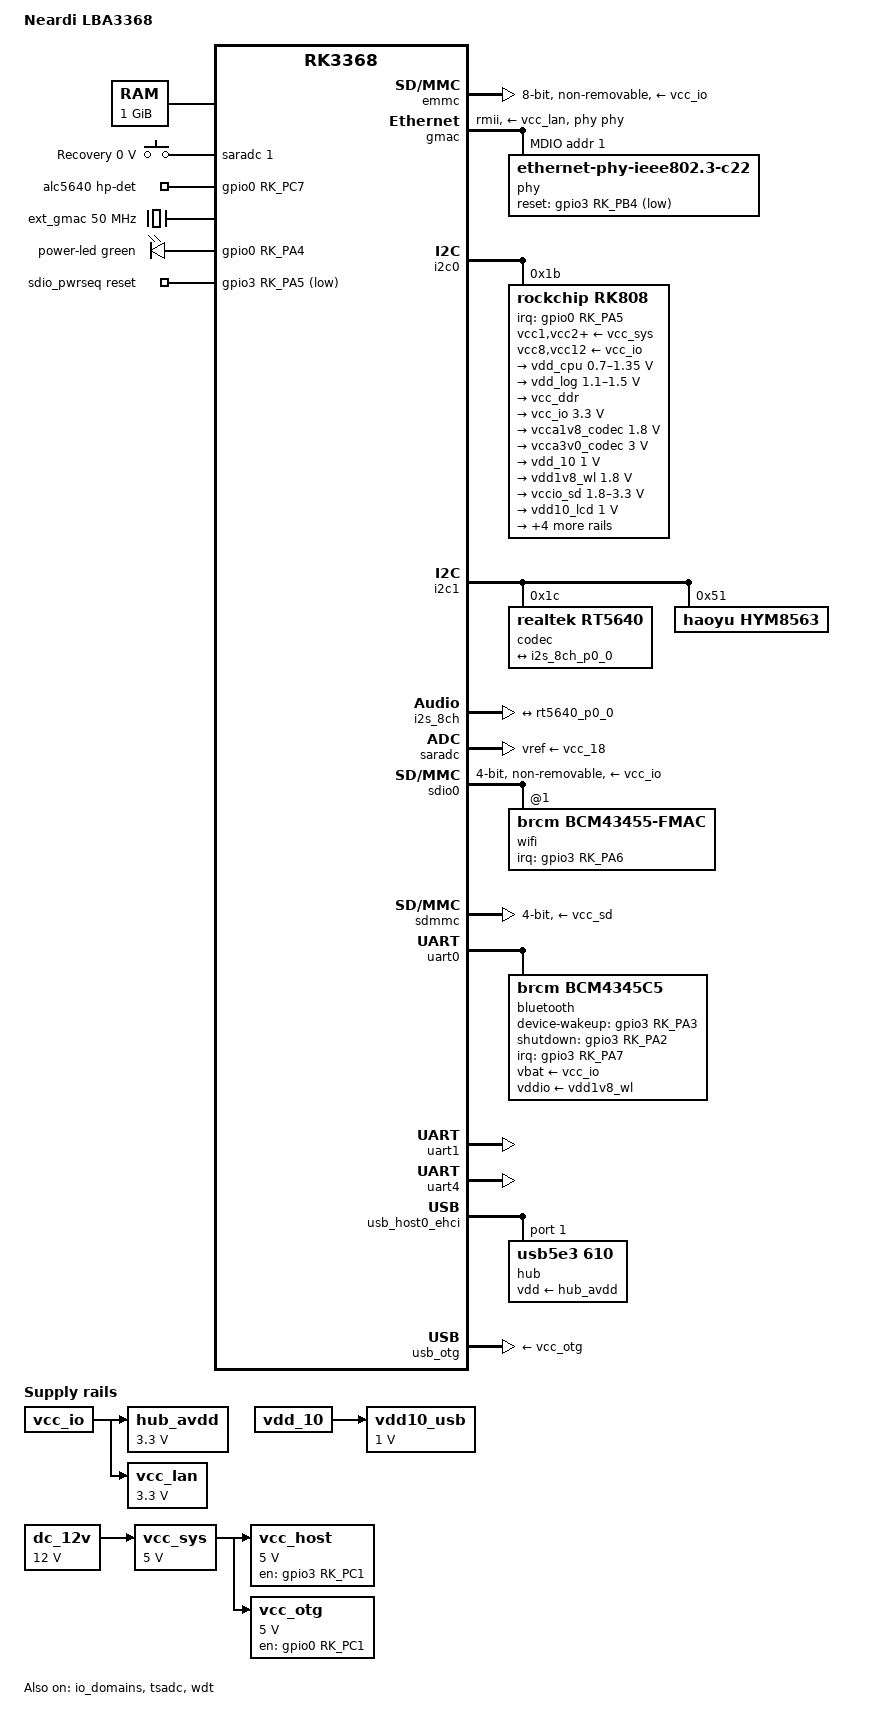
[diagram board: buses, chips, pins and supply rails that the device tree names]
// SPDX-License-Identifier: (GPL-2.0+ OR MIT)

/dts-v1/;

#include <dt-bindings/clock/rockchip,rk808.h>
#include <dt-bindings/input/input.h>
#include <dt-bindings/leds/common.h>
#include <dt-bindings/sound/rt5640.h>
#include "rk3368.dtsi"

/ {
	model = "Neardi LBA3368";
	compatible = "neardi,lba3368", "rockchip,rk3368";

	aliases {
		ethernet0 = &gmac;
		mmc0 = &emmc;
		mmc1 = &sdmmc;
		mmc2 = &sdio0;
		rtc0 = &hym8563;
		rtc1 = &rk808;
	};

	chosen {
		stdout-path = "serial1:115200n8";
	};

	memory@0 {
		device_type = "memory";
		reg = <0x0 0x0 0x0 0x40000000>;
	};

	adc-key {
		compatible = "adc-keys";
		io-channels = <&saradc 1>;
		io-channel-names = "buttons";
		poll-interval = <100>;
		keyup-threshold-microvolt = <1800000>;

		button-recovery {
			label = "Recovery";
			linux,code = <KEY_VENDOR>;
			press-threshold-microvolt = <0>;
		};
	};

	analog-sound {
		compatible = "audio-graph-card";
		dais = <&i2s_8ch_p0>;
		hp-det-gpios = <&gpio0 RK_PC7 GPIO_ACTIVE_HIGH>;
		label = "alc5640";
		routing = "Mic Jack", "MICBIAS1",
			  "IN1P", "Mic Jack",
			  "Headphone Jack", "HPOL",
			  "Headphone Jack", "HPOR",
			  "Speakers", "SPORP",
			  "Speakers", "SPORN",
			  "Speakers", "SPOLP",
			  "Speakers", "SPOLN";
		widgets = "Microphone", "Mic Jack",
			  "Headphone", "Headphone Jack",
			  "Speaker", "Speakers";
		pinctrl-names = "default";
		pinctrl-0 = <&hp_det>;
	};

	dc_12v: regulator-dc-12v {
		compatible = "regulator-fixed";
		regulator-name = "dc_12v";
		regulator-min-microvolt = <12000000>;
		regulator-max-microvolt = <12000000>;
		regulator-always-on;
		regulator-boot-on;
	};

	ext_gmac: gmac-clk {
		compatible = "fixed-clock";
		clock-frequency = <50000000>;
		clock-output-names = "ext_gmac";
		#clock-cells = <0>;
	};

	hub_avdd: regulator-hub-avdd {
		compatible = "regulator-fixed";
		regulator-name = "hub_avdd";
		regulator-min-microvolt = <3300000>;
		regulator-max-microvolt = <3300000>;
		vin-supply = <&vcc_io>;
		regulator-always-on;
	};

	leds {
		compatible = "gpio-leds";

		power-led {
			gpios = <&gpio0 RK_PA4 GPIO_ACTIVE_HIGH>;
			function = LED_FUNCTION_POWER;
			color = <LED_COLOR_ID_GREEN>;
			default-state = "on";
			pinctrl-names = "default";
			pinctrl-0 = <&power_led>;
		};
	};

	sdio_pwrseq: sdio-pwrseq {
		compatible = "mmc-pwrseq-simple";
		clocks = <&rk808 RK808_CLKOUT1>;
		clock-names = "ext_clock";
		reset-gpios = <&gpio3 RK_PA5 GPIO_ACTIVE_LOW>;
		pinctrl-names = "default";
		pinctrl-0 = <&wifi_reg_on>;
	};

	vcc_host: regulator-vcc-host {
		compatible = "regulator-fixed";
		gpio = <&gpio3 RK_PC1 GPIO_ACTIVE_HIGH>;
		regulator-name = "vcc_host";
		regulator-min-microvolt = <5000000>;
		regulator-max-microvolt = <5000000>;
		vin-supply = <&vcc_sys>;
		pinctrl-names = "default";
		pinctrl-0 = <&host_vbus_drv>;
		enable-active-high;
		regulator-always-on;
	};

	vcc_lan: regulator-vcc-lan {
		compatible = "regulator-fixed";
		regulator-name = "vcc_lan";
		regulator-min-microvolt = <3300000>;
		regulator-max-microvolt = <3300000>;
		vin-supply = <&vcc_io>;
		regulator-always-on;
	};

	vcc_otg: regulator-vcc-otg {
		compatible = "regulator-fixed";
		gpio = <&gpio0 RK_PC1 GPIO_ACTIVE_HIGH>;
		regulator-name = "vcc_otg";
		regulator-min-microvolt = <5000000>;
		regulator-max-microvolt = <5000000>;
		vin-supply = <&vcc_sys>;
		pinctrl-names = "default";
		pinctrl-0 = <&otg_vbus_drv>;
		enable-active-high;
		regulator-always-on;
	};

	vcc_sys: regulator-vcc-sys {
		compatible = "regulator-fixed";
		regulator-name = "vcc_sys";
		regulator-min-microvolt = <5000000>;
		regulator-max-microvolt = <5000000>;
		vin-supply = <&dc_12v>;
		regulator-always-on;
		regulator-boot-on;
	};

	vdd10_usb: regulator-vdd10-usb {
		compatible = "regulator-fixed";
		regulator-name = "vdd10_usb";
		regulator-min-microvolt = <1000000>;
		regulator-max-microvolt = <1000000>;
		vin-supply = <&vdd_10>;
		regulator-always-on;
	};
};

&cpu_l0 {
	cpu-supply = <&vdd_cpu>;
};

&cpu_l1 {
	cpu-supply = <&vdd_cpu>;
};

&cpu_l2 {
	cpu-supply = <&vdd_cpu>;
};

&cpu_l3 {
	cpu-supply = <&vdd_cpu>;
};

&cpu_b0 {
	cpu-supply = <&vdd_cpu>;
};

&cpu_b1 {
	cpu-supply = <&vdd_cpu>;
};

&cpu_b2 {
	cpu-supply = <&vdd_cpu>;
};

&cpu_b3 {
	cpu-supply = <&vdd_cpu>;
};

&emmc {
	bus-width = <8>;
	vmmc-supply = <&vcc_io>;
	vqmmc-supply = <&vcc_18>;
	pinctrl-names = "default";
	pinctrl-0 = <&emmc_clk &emmc_cmd &emmc_bus8>;
	cap-mmc-highspeed;
	non-removable;
	no-sd;
	no-sdio;
	mmc-hs200-1_8v;
	status = "okay";
};

&gmac {
	clock_in_out = "input";
	phy-handle = <&phy>;
	phy-mode = "rmii";
	phy-supply = <&vcc_lan>;
	assigned-clocks = <&cru SCLK_MAC>;
	assigned-clock-parents = <&ext_gmac>;
	pinctrl-names = "default";
	pinctrl-0 = <&rmii_pins>;
	status = "okay";

	mdio {
		compatible = "snps,dwmac-mdio";
		#address-cells = <1>;
		#size-cells = <0>;

		phy: ethernet-phy@1 {
			compatible = "ethernet-phy-ieee802.3-c22";
			reg = <1>;
			max-speed = <100>;
			reset-assert-us = <10000>;
			reset-deassert-us = <1000000>;
			reset-gpios = <&gpio3 RK_PB4 GPIO_ACTIVE_LOW>;
			pinctrl-names = "default";
			pinctrl-0 = <&phy_rst>;
		};
	};
};

&io_domains {
	audio-supply = <&vcca1v8_codec>;
	dvp-supply = <&vcc_18>;
	flash0-supply = <&vcc_18>;
	gpio1830-supply = <&vcc_io>;
	gpio30-supply = <&vcc_io>;
	sdcard-supply = <&vccio_sd>;
	wifi-supply = <&vdd1v8_wl>;
	status = "okay";
};

&i2c0 {
	status = "okay";

	rk808: pmic@1b {
		compatible = "rockchip,rk808";
		reg = <0x1b>;
		interrupts-extended = <&gpio0 RK_PA5 IRQ_TYPE_LEVEL_LOW>;
		clock-output-names = "rk808-clkout1", "xin32k_wifi_bt";
		vcc1-supply = <&vcc_sys>;
		vcc2-supply = <&vcc_sys>;
		vcc3-supply = <&vcc_sys>;
		vcc4-supply = <&vcc_sys>;
		vcc6-supply = <&vcc_sys>;
		vcc7-supply = <&vcc_sys>;
		vcc8-supply = <&vcc_io>;
		vcc9-supply = <&vcc_sys>;
		vcc10-supply = <&vcc_sys>;
		vcc11-supply = <&vcc_sys>;
		vcc12-supply = <&vcc_io>;
		pinctrl-names = "default";
		pinctrl-0 = <&pmic_int &pmic_sleep>;
		system-power-controller;
		wakeup-source;
		#clock-cells = <1>;

		regulators {
			vdd_cpu: DCDC_REG1 {
				regulator-name = "vdd_cpu";
				regulator-min-microvolt = <700000>;
				regulator-max-microvolt = <1350000>;
				regulator-always-on;
				regulator-boot-on;

				regulator-state-mem {
					regulator-off-in-suspend;
				};
			};

			vdd_log: DCDC_REG2 {
				regulator-name = "vdd_log";
				regulator-min-microvolt = <1100000>;
				regulator-max-microvolt = <1500000>;
				regulator-ramp-delay = <6001>;
				regulator-always-on;
				regulator-boot-on;

				regulator-state-mem {
					regulator-suspend-microvolt = <1000000>;
					regulator-on-in-suspend;
				};
			};

			vcc_ddr: DCDC_REG3 {
				regulator-name = "vcc_ddr";
				regulator-always-on;
				regulator-boot-on;

				regulator-state-mem {
					regulator-on-in-suspend;
				};
			};

			vcc_io: DCDC_REG4 {
				regulator-name = "vcc_io";
				regulator-min-microvolt = <3300000>;
				regulator-max-microvolt = <3300000>;
				regulator-always-on;
				regulator-boot-on;

				regulator-state-mem {
					regulator-suspend-microvolt = <3300000>;
					regulator-on-in-suspend;
				};
			};

			vcca1v8_codec: LDO_REG1 {
				regulator-name = "vcca1v8_codec";
				regulator-min-microvolt = <1800000>;
				regulator-max-microvolt = <1800000>;
				regulator-always-on;

				regulator-state-mem {
					regulator-off-in-suspend;
				};
			};

			vcca3v0_codec: LDO_REG2 {
				regulator-name = "vcca3v0_codec";
				regulator-min-microvolt = <3000000>;
				regulator-max-microvolt = <3000000>;
				regulator-always-on;

				regulator-state-mem {
					regulator-off-in-suspend;
				};
			};

			vdd_10: LDO_REG3 {
				regulator-name = "vdd_10";
				regulator-min-microvolt = <1000000>;
				regulator-max-microvolt = <1000000>;
				regulator-always-on;
				regulator-boot-on;

				regulator-state-mem {
					regulator-suspend-microvolt = <1000000>;
					regulator-on-in-suspend;
				};
			};

			vdd1v8_wl: LDO_REG4 {
				regulator-name = "vdd1v8_wl";
				regulator-min-microvolt = <1800000>;
				regulator-max-microvolt = <1800000>;

				regulator-state-mem {
					regulator-off-in-suspend;
				};
			};

			vccio_sd: LDO_REG5 {
				regulator-name = "vccio_sd";
				regulator-min-microvolt = <1800000>;
				regulator-max-microvolt = <3300000>;

				regulator-state-mem {
					regulator-off-in-suspend;
				};
			};

			vdd10_lcd: LDO_REG6 {
				regulator-name = "vdd10_lcd";
				regulator-min-microvolt = <1000000>;
				regulator-max-microvolt = <1000000>;

				regulator-state-mem {
					regulator-off-in-suspend;
				};
			};

			vcc_18: LDO_REG7 {
				regulator-name = "vcc_18";
				regulator-min-microvolt = <1800000>;
				regulator-max-microvolt = <1800000>;

				regulator-state-mem {
					regulator-suspend-microvolt = <1800000>;
					regulator-on-in-suspend;
				};
			};

			vcc18_lcd: LDO_REG8 {
				regulator-name = "vcc18_lcd";
				regulator-min-microvolt = <1800000>;
				regulator-max-microvolt = <1800000>;

				regulator-state-mem {
					regulator-off-in-suspend;
				};
			};

			vcc_tp: SWITCH_REG1 {
				regulator-name = "vcc_tp";

				regulator-state-mem {
					regulator-on-in-suspend;
				};
			};

			vcc_sd: SWITCH_REG2 {
				regulator-name = "vcc_sd";

				regulator-state-mem {
					regulator-off-in-suspend;
				};
			};
		};
	};
};

&i2c1 {
	status = "okay";

	codec@1c {
		compatible = "realtek,rt5640";
		reg = <0x1c>;
		clocks = <&cru SCLK_I2S_8CH_OUT>;
		clock-names = "mclk";
		realtek,dmic1-data-pin = <RT5640_DMIC1_DATA_PIN_IN1P>;
		realtek,dmic2-data-pin = <RT5640_DMIC2_DATA_PIN_IN1N>;
		realtek,in1-differential;
		#sound-dai-cells = <0>;

		port {
			rt5640_p0_0: endpoint {
				remote-endpoint = <&i2s_8ch_p0_0>;
			};
		};
	};

	hym8563: rtc@51 {
		compatible = "haoyu,hym8563";
		reg = <0x51>;
		clock-output-names = "xin32k";
		#clock-cells = <0>;
	};
};

&i2s_8ch {
	status = "okay";

	i2s_8ch_p0: port {
		i2s_8ch_p0_0: endpoint {
			dai-format = "i2s";
			mclk-fs = <256>;
			remote-endpoint = <&rt5640_p0_0>;
		};
	};
};

&pinctrl {
	bluetooth {
		bt_host_wake: bt-host-wake {
			rockchip,pins = <3 RK_PA7 RK_FUNC_GPIO &pcfg_pull_none>;
		};

		bt_reg_on: bt-reg-on {
			rockchip,pins = <3 RK_PA2 RK_FUNC_GPIO &pcfg_pull_up>;
		};

		bt_wake: bt-wake {
			rockchip,pins = <3 RK_PA3 RK_FUNC_GPIO &pcfg_pull_none>;
		};
	};

	leds {
		power_led: power-led {
			rockchip,pins = <0 RK_PA4 RK_FUNC_GPIO &pcfg_pull_none>;
		};
	};

	phy {
		phy_rst: phy-rst {
			rockchip,pins = <3 RK_PB4 RK_FUNC_GPIO &pcfg_pull_none>;
		};
	};

	pmic {
		pmic_int: pmic-int {
			rockchip,pins = <0 RK_PA5 RK_FUNC_GPIO &pcfg_pull_up>;
		};

		pmic_sleep: pmic-sleep {
			rockchip,pins = <0 RK_PA0 2 &pcfg_pull_none>;
		};
	};

	sdio-pwrseq {
		wifi_reg_on: wifi-reg-on {
			rockchip,pins = <3 RK_PA5 RK_FUNC_GPIO &pcfg_pull_none>;
		};
	};

	sound {
		hp_det: hp-det {
			rockchip,pins = <0 RK_PC7 RK_FUNC_GPIO &pcfg_pull_none>;
		};
	};

	usb {
		host_vbus_drv: host-vbus-drv {
			rockchip,pins = <3 RK_PC1 RK_FUNC_GPIO &pcfg_pull_none>;
		};

		otg_vbus_drv: otg-vbus-drv {
			rockchip,pins = <0 RK_PC1 RK_FUNC_GPIO &pcfg_pull_none>;
		};
	};

	wifi {
		wifi_host_wake: wifi-host-wake {
			rockchip,pins = <3 RK_PA6 RK_FUNC_GPIO &pcfg_pull_none>;
		};
	};
};

&pmu_io_domains {
	pmu-supply = <&vcc_io>;
	vop-supply = <&vcc_io>;
	status = "okay";
};

&saradc {
	vref-supply = <&vcc_18>;
	status = "okay";
};

&sdio0 {
	bus-width = <4>;
	mmc-pwrseq = <&sdio_pwrseq>;
	vmmc-supply = <&vcc_io>;
	vqmmc-supply = <&vdd1v8_wl>;
	assigned-clocks = <&cru SCLK_SDIO0>;
	assigned-clock-parents = <&cru PLL_CPLL>;
	pinctrl-names = "default";
	pinctrl-0 = <&sdio0_bus4 &sdio0_cmd &sdio0_clk>;
	cap-sd-highspeed;
	cap-sdio-irq;
	no-sd;
	no-mmc;
	non-removable;
	sd-uhs-sdr104;
	#address-cells = <1>;
	#size-cells = <0>;
	status = "okay";

	wifi@1 {
		compatible = "brcm,bcm43455-fmac", "brcm,bcm4329-fmac";
		reg = <1>;
		interrupts-extended = <&gpio3 RK_PA6 IRQ_TYPE_LEVEL_HIGH>;
		interrupt-names = "host-wake";
		pinctrl-names = "default";
		pinctrl-0 = <&wifi_host_wake>;
	};
};

&sdmmc {
	bus-width = <4>;
	vmmc-supply = <&vcc_sd>;
	vqmmc-supply = <&vccio_sd>;
	pinctrl-names = "default";
	pinctrl-0 = <&sdmmc_clk &sdmmc_cmd &sdmmc_bus4 &sdmmc_cd>;
	cap-sd-highspeed;
	disable-wp;
	no-mmc;
	no-sdio;
	sd-uhs-sdr12;
	sd-uhs-sdr25;
	sd-uhs-sdr50;
	sd-uhs-sdr104;
	status = "okay";
};

&tsadc {
	rockchip,hw-tshut-mode = <0>;
	rockchip,hw-tshut-polarity = <1>;
	status = "okay";
};

&uart0 {
	pinctrl-names = "default";
	pinctrl-0 = <&uart0_xfer &uart0_cts &uart0_rts>;
	uart-has-rtscts;
	status = "okay";

	bluetooth {
		compatible = "brcm,bcm4345c5";
		interrupts-extended = <&gpio3 RK_PA7 GPIO_ACTIVE_HIGH>;
		interrupt-names = "host-wakeup";
		clocks = <&rk808 RK808_CLKOUT1>;
		clock-names = "lpo";
		device-wakeup-gpios = <&gpio3 RK_PA3 GPIO_ACTIVE_HIGH>;
		shutdown-gpios = <&gpio3 RK_PA2 GPIO_ACTIVE_HIGH>;
		max-speed = <15000000>;
		vbat-supply = <&vcc_io>;
		vddio-supply = <&vdd1v8_wl>;
		pinctrl-names = "default";
		pinctrl-0 = <&bt_host_wake &bt_wake &bt_reg_on>;
	};
};

&uart1 {
	pinctrl-names = "default";
	pinctrl-0 = <&uart1_xfer>;
	status = "okay";
};

&uart4 {
	pinctrl-names = "default";
	pinctrl-0 = <&uart4_xfer>;
	status = "okay";
};

&usb_host0_ehci {
	#address-cells = <1>;
	#size-cells = <0>;
	status = "okay";

	hub@1 {
		compatible = "usb5e3,610";
		reg = <1>;
		vdd-supply = <&hub_avdd>;
	};
};

&usb_otg {
	vbus-supply = <&vcc_otg>;
	vusb_a-supply = <&vcc_io>;
	vusb_d-supply = <&vdd10_usb>;
	status = "okay";
};

&wdt {
	status = "okay";
};
